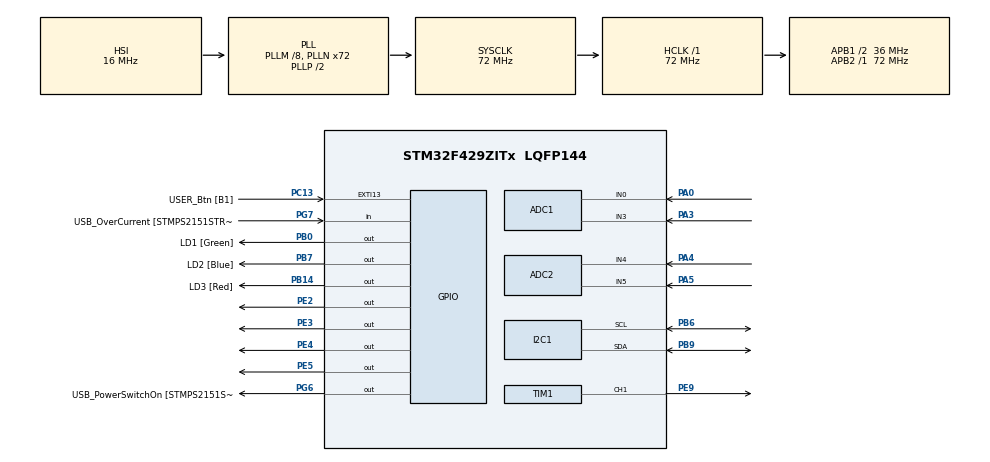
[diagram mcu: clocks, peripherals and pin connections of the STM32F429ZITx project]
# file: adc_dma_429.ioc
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ADC1.Channel-3\#ChannelRegularConversion=ADC_CHANNEL_0
ADC1.Channel-4\#ChannelRegularConversion=ADC_CHANNEL_3
ADC1.ClockPrescaler=ADC_CLOCK_SYNC_PCLK_DIV8
ADC1.ContinuousConvMode=ENABLE
ADC1.DMAContinuousRequests=ENABLE
ADC1.NbrOfConversion=2
ADC1.NbrOfConversionFlag=1
ADC1.Rank-3\#ChannelRegularConversion=1
ADC1.Rank-4\#ChannelRegularConversion=2
ADC1.SamplingTime-3\#ChannelRegularConversion=ADC_SAMPLETIME_480CYCLES
ADC1.SamplingTime-4\#ChannelRegularConversion=ADC_SAMPLETIME_480CYCLES
ADC1.ScanConvMode=ENABLE
ADC1.master=1
ADC2.Channel-2\#ChannelRegularConversion=ADC_CHANNEL_4
ADC2.Channel-3\#ChannelRegularConversion=ADC_CHANNEL_5
ADC2.ClockPrescaler=ADC_CLOCK_SYNC_PCLK_DIV8
ADC2.ContinuousConvMode=ENABLE
ADC2.DMAContinuousRequests=ENABLE
ADC2.NbrOfConversion=2
ADC2.NbrOfConversionFlag=1
ADC2.Rank-2\#ChannelRegularConversion=1
ADC2.Rank-3\#ChannelRegularConversion=2
ADC2.SamplingTime-2\#ChannelRegularConversion=ADC_SAMPLETIME_144CYCLES
ADC2.SamplingTime-3\#ChannelRegularConversion=ADC_SAMPLETIME_144CYCLES
ADC2.ScanConvMode=ENABLE
Dma.ADC1.0.Direction=DMA_PERIPH_TO_MEMORY
Dma.ADC1.0.FIFOMode=DMA_FIFOMODE_DISABLE
Dma.ADC1.0.Instance=DMA2_Stream0
Dma.ADC1.0.MemDataAlignment=DMA_MDATAALIGN_HALFWORD
Dma.ADC1.0.MemInc=DMA_MINC_ENABLE
Dma.ADC1.0.Mode=DMA_CIRCULAR
Dma.ADC1.0.PeriphDataAlignment=DMA_PDATAALIGN_HALFWORD
Dma.ADC1.0.PeriphInc=DMA_PINC_DISABLE
Dma.ADC1.0.Priority=DMA_PRIORITY_LOW
Dma.ADC2.1.Direction=DMA_PERIPH_TO_MEMORY
Dma.ADC2.1.FIFOMode=DMA_FIFOMODE_DISABLE
Dma.ADC2.1.Instance=DMA2_Stream2
Dma.ADC2.1.MemDataAlignment=DMA_MDATAALIGN_HALFWORD
Dma.ADC2.1.MemInc=DMA_MINC_ENABLE
Dma.ADC2.1.Mode=DMA_CIRCULAR
Dma.ADC2.1.PeriphDataAlignment=DMA_PDATAALIGN_HALFWORD
Dma.ADC2.1.PeriphInc=DMA_PINC_DISABLE
Dma.ADC2.1.Priority=DMA_PRIORITY_LOW
Dma.Request0=ADC1
Dma.Request1=ADC2
Mcu.Family=STM32F4
Mcu.Name=STM32F429ZITx
Mcu.Package=LQFP144
NVIC.DMA2_Stream0_IRQn=true\:0\:0\:false\:false\:true\:false\:true\:true
NVIC.DMA2_Stream2_IRQn=true\:0\:0\:false\:false\:true\:false\:true\:true
NVIC.PriorityGroup=NVIC_PRIORITYGROUP_4
PA0/WKUP.Signal=ADCx_IN0
PA1.GPIO_Label=RMII_REF_CLK [LAN8742A-CZ-TR_REFCLK0]
PA1.Signal=ETH_REF_CLK
PA10.GPIO_Label=USB_ID
PA10.Signal=USB_OTG_FS_ID
PA11.GPIO_Label=USB_DM
PA11.Signal=USB_OTG_FS_DM
PA12.GPIO_Label=USB_DP
PA12.Signal=USB_OTG_FS_DP
PA13.GPIO_Label=TMS
PA13.Signal=SYS_JTMS-SWDIO
PA14.GPIO_Label=TCK
PA14.Signal=SYS_JTCK-SWCLK
PA2.GPIO_Label=RMII_MDIO [LAN8742A-CZ-TR_MDIO]
PA2.Signal=ETH_MDIO
PA3.Signal=ADCx_IN3
PA4.Signal=ADCx_IN4
PA5.Signal=ADCx_IN5
PA7.GPIO_Label=RMII_CRS_DV [LAN8742A-CZ-TR_CRS_DV]
PA7.Signal=ETH_CRS_DV
PA8.GPIO_Label=USB_SOF [TP1]
PA8.Signal=USB_OTG_FS_SOF
PA9.GPIO_Label=USB_VBUS
PA9.Signal=USB_OTG_FS_VBUS
PB0.GPIO_Label=LD1 [Green]
PB0.Signal=GPIO_Output
PB13.GPIO_Label=RMII_TXD1 [LAN8742A-CZ-TR_TXD1]
PB13.Signal=ETH_TXD1
PB14.GPIO_Label=LD3 [Red]
PB14.Signal=GPIO_Output
PB6.Mode=I2C
PB6.Signal=I2C1_SCL
PB7.GPIO_Label=LD2 [Blue]
PB7.Signal=GPIO_Output
PB9.Mode=I2C
PB9.Signal=I2C1_SDA
PC1.GPIO_Label=RMII_MDC [LAN8742A-CZ-TR_MDC]
PC1.Signal=ETH_MDC
PC13.GPIO_Label=USER_Btn [B1]
PC13.Signal=GPXTI13
PC14/OSC32_IN.Signal=RCC_OSC32_IN
PC15/OSC32_OUT.Signal=RCC_OSC32_OUT
PC4.GPIO_Label=RMII_RXD0 [LAN8742A-CZ-TR_RXD0]
PC4.Signal=ETH_RXD0
PC5.GPIO_Label=RMII_RXD1 [LAN8742A-CZ-TR_RXD1]
PC5.Signal=ETH_RXD1
PD8.GPIO_Label=STLK_RX [STM32F103CBT6_PA3]
PD8.Signal=USART3_TX
PD9.GPIO_Label=STLK_TX [STM32F103CBT6_PA2]
PD9.Signal=USART3_RX
PE2.Signal=GPIO_Output
PE3.Signal=GPIO_Output
PE4.Signal=GPIO_Output
PE5.Signal=GPIO_Output
PE9.Signal=S_TIM1_CH1
PG11.GPIO_Label=RMII_TX_EN [LAN8742A-CZ-TR_TXEN]
PG11.Signal=ETH_TX_EN
PG13.GPIO_Label=RMII_TXD0 [LAN8742A-CZ-TR_TXD0]
PG13.Signal=ETH_TXD0
PG6.GPIO_Label=USB_PowerSwitchOn [STMPS2151STR_EN]
PG6.Signal=GPIO_Output
PG7.GPIO_Label=USB_OverCurrent [STMPS2151STR_FAULT]
PG7.Signal=GPIO_Input
PH0/OSC_IN.GPIO_Label=MCO [STM32F103CBT6_PA8]
PH0/OSC_IN.Mode=HSE-External-Oscillator
PH0/OSC_IN.Signal=RCC_OSC_IN
PH1/OSC_OUT.Mode=HSE-External-Oscillator
PH1/OSC_OUT.Signal=RCC_OSC_OUT
ProjectManager.HeapSize=0x200
ProjectManager.StackSize=0x400
ProjectManager.TargetToolchain=STM32CubeIDE
RCC.48MHZClocksFreq_Value=36000000
RCC.AHBFreq_Value=72000000
RCC.APB1CLKDivider=RCC_HCLK_DIV2
RCC.APB1Freq_Value=36000000
RCC.APB1TimFreq_Value=72000000
RCC.APB2Freq_Value=72000000
RCC.APB2TimFreq_Value=72000000
RCC.CortexFreq_Value=72000000
RCC.HCLKFreq_Value=72000000
RCC.HSE_VALUE=8000000
RCC.HSI_VALUE=16000000
RCC.LSE_VALUE=32768
RCC.PLLM=8
RCC.PLLMUL=RCC_PLL_MUL9
RCC.PLLN=72
RCC.PRESCALERUSB=RCC_USBCLKSOURCE_PLL_DIV1_5
RCC.SYSCLKFreq_VALUE=72000000
RCC.SYSCLKSource=RCC_SYSCLKSOURCE_PLLCLK
RCC.SYSCLKSourceVirtual=RCC_SYSCLKSOURCE_PLLCLK
RCC.USBFreq_Value=48000000
RCC.VCOOutputFreq_Value=144000000
SH.ADCx_IN0.0=ADC1_IN0,IN0
SH.ADCx_IN3.0=ADC1_IN3,IN3
SH.ADCx_IN4.0=ADC2_IN4,IN4
SH.ADCx_IN5.0=ADC2_IN5,IN5
SH.S_TIM1_CH1.0=TIM1_CH1,PWM Generation1 CH1
TIM1.Channel-PWM\ Generation1\ CH1=TIM_CHANNEL_1
TIM1.Period=20000
TIM1.Prescaler=72-1
TIM1.Pulse-PWM\ Generation1\ CH1=1000
TIM2.Period=4294967295
TIM2.Prescaler=71
VP_TIM1_VS_ClockSourceINT.Mode=Internal
VP_TIM2_VS_ClockSourceINT.Mode=Internal
board=NUCLEO-F429ZI

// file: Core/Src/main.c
/* USER CODE BEGIN Header */
/**
  ******************************************************************************
  * @file           : main.c
  * @brief          : Main program body
  ******************************************************************************
  * @attention
  *
  * Copyright (c) 2022 STMicroelectronics.
  * All rights reserved.
  *
  * This software is licensed under terms that can be found in the LICENSE file
  * in the root directory of this software component.
  * If no LICENSE file comes with this software, it is provided AS-IS.
  *
  ******************************************************************************
  */
/* USER CODE END Header */
#include "main.h"

ADC_HandleTypeDef hadc1;
ADC_HandleTypeDef hadc2;
DMA_HandleTypeDef hdma_adc1;
DMA_HandleTypeDef hdma_adc2;

I2C_HandleTypeDef hi2c1;

TIM_HandleTypeDef htim1;
TIM_HandleTypeDef htim2;

/* USER CODE BEGIN PV */
uint16_t adc_data_left[2];
uint16_t adc_data_right[2];
/* USER CODE END PV */

void SystemClock_Config(void);
static void MX_GPIO_Init(void);
static void MX_DMA_Init(void);
static void MX_ADC1_Init(void);
static void MX_TIM1_Init(void);
static void MX_TIM2_Init(void);
static void MX_I2C1_Init(void);
static void MX_ADC2_Init(void);

/* USER CODE BEGIN 0 */
void microDelay (uint16_t delay)
{
  __HAL_TIM_SET_COUNTER(&htim2, 0);
  while (__HAL_TIM_GET_COUNTER(&htim2) < delay);
}

void stepCCV (int steps, uint16_t delay) // CCV - Counter Clockwise
{
  for(int x=0; x<steps; x=x+1)
  {
    HAL_GPIO_WritePin(GPIOE, GPIO_PIN_5, GPIO_PIN_SET);   // IN1
    HAL_GPIO_WritePin(GPIOE, GPIO_PIN_4, GPIO_PIN_RESET); // IN2
    HAL_GPIO_WritePin(GPIOE, GPIO_PIN_3, GPIO_PIN_RESET); // IN3
    HAL_GPIO_WritePin(GPIOE, GPIO_PIN_2, GPIO_PIN_RESET); // IN4
    microDelay(delay);
    HAL_GPIO_WritePin(GPIOE, GPIO_PIN_5, GPIO_PIN_SET);   // IN1
    HAL_GPIO_WritePin(GPIOE, GPIO_PIN_4, GPIO_PIN_SET);   // IN2
    HAL_GPIO_WritePin(GPIOE, GPIO_PIN_3, GPIO_PIN_RESET); // IN3
    HAL_GPIO_WritePin(GPIOE, GPIO_PIN_2, GPIO_PIN_RESET); // IN4
    microDelay(delay);
    HAL_GPIO_WritePin(GPIOE, GPIO_PIN_5, GPIO_PIN_RESET); // IN1
    HAL_GPIO_WritePin(GPIOE, GPIO_PIN_4, GPIO_PIN_SET);   // IN2
    HAL_GPIO_WritePin(GPIOE, GPIO_PIN_3, GPIO_PIN_RESET); // IN3
    HAL_GPIO_WritePin(GPIOE, GPIO_PIN_2, GPIO_PIN_RESET); // IN4
    microDelay(delay);
    HAL_GPIO_WritePin(GPIOE, GPIO_PIN_5, GPIO_PIN_RESET); // IN1
    HAL_GPIO_WritePin(GPIOE, GPIO_PIN_4, GPIO_PIN_SET);   // IN2
    HAL_GPIO_WritePin(GPIOE, GPIO_PIN_3, GPIO_PIN_SET);   // IN3
    HAL_GPIO_WritePin(GPIOE, GPIO_PIN_2, GPIO_PIN_RESET); // IN4
    microDelay(delay);
    HAL_GPIO_WritePin(GPIOE, GPIO_PIN_5, GPIO_PIN_RESET); // IN1
    HAL_GPIO_WritePin(GPIOE, GPIO_PIN_4, GPIO_PIN_RESET); // IN2
    HAL_GPIO_WritePin(GPIOE, GPIO_PIN_3, GPIO_PIN_SET);   // IN3
    HAL_GPIO_WritePin(GPIOE, GPIO_PIN_2, GPIO_PIN_RESET); // IN4
    microDelay(delay);
    HAL_GPIO_WritePin(GPIOE, GPIO_PIN_5, GPIO_PIN_RESET); // IN1
    HAL_GPIO_WritePin(GPIOE, GPIO_PIN_4, GPIO_PIN_RESET); // IN2
    HAL_GPIO_WritePin(GPIOE, GPIO_PIN_3, GPIO_PIN_SET);   // IN3
    HAL_GPIO_WritePin(GPIOE, GPIO_PIN_2, GPIO_PIN_SET);   // IN4
    microDelay(delay);
    HAL_GPIO_WritePin(GPIOE, GPIO_PIN_5, GPIO_PIN_RESET); // IN1
    HAL_GPIO_WritePin(GPIOE, GPIO_PIN_4, GPIO_PIN_RESET); // IN2
    HAL_GPIO_WritePin(GPIOE, GPIO_PIN_3, GPIO_PIN_RESET); // IN3
    HAL_GPIO_WritePin(GPIOE, GPIO_PIN_2, GPIO_PIN_SET);   // IN4
    microDelay(delay);
    HAL_GPIO_WritePin(GPIOE, GPIO_PIN_5, GPIO_PIN_SET);   // IN1
    HAL_GPIO_WritePin(GPIOE, GPIO_PIN_4, GPIO_PIN_RESET); // IN2
    HAL_GPIO_WritePin(GPIOE, GPIO_PIN_3, GPIO_PIN_RESET); // IN3
    HAL_GPIO_WritePin(GPIOE, GPIO_PIN_2, GPIO_PIN_SET);   // IN4
    microDelay(delay);
  }
}

void stepCV (int steps, uint16_t delay) // CV - Clockwise
{
  for(int x=0; x<steps; x=x+1)
  {
    HAL_GPIO_WritePin(GPIOE, GPIO_PIN_5, GPIO_PIN_SET);   // IN1
    HAL_GPIO_WritePin(GPIOE, GPIO_PIN_4, GPIO_PIN_RESET); // IN2
    HAL_GPIO_WritePin(GPIOE, GPIO_PIN_3, GPIO_PIN_RESET); // IN3
    HAL_GPIO_WritePin(GPIOE, GPIO_PIN_2, GPIO_PIN_SET);   // IN4
    microDelay(delay);
    HAL_GPIO_WritePin(GPIOE, GPIO_PIN_5, GPIO_PIN_RESET); // IN1
    HAL_GPIO_WritePin(GPIOE, GPIO_PIN_4, GPIO_PIN_RESET); // IN2
    HAL_GPIO_WritePin(GPIOE, GPIO_PIN_3, GPIO_PIN_RESET); // IN3
    HAL_GPIO_WritePin(GPIOE, GPIO_PIN_2, GPIO_PIN_SET);   // IN4
    microDelay(delay);
    HAL_GPIO_WritePin(GPIOE, GPIO_PIN_5, GPIO_PIN_RESET); // IN1
    HAL_GPIO_WritePin(GPIOE, GPIO_PIN_4, GPIO_PIN_RESET); // IN2
    HAL_GPIO_WritePin(GPIOE, GPIO_PIN_3, GPIO_PIN_SET);   // IN3
    HAL_GPIO_WritePin(GPIOE, GPIO_PIN_2, GPIO_PIN_SET);   // IN4
    microDelay(delay);
    HAL_GPIO_WritePin(GPIOE, GPIO_PIN_5, GPIO_PIN_RESET); // IN1
    HAL_GPIO_WritePin(GPIOE, GPIO_PIN_4, GPIO_PIN_RESET); // IN2
    HAL_GPIO_WritePin(GPIOE, GPIO_PIN_3, GPIO_PIN_SET);   // IN3
    HAL_GPIO_WritePin(GPIOE, GPIO_PIN_2, GPIO_PIN_RESET); // IN4
    microDelay(delay);
    HAL_GPIO_WritePin(GPIOE, GPIO_PIN_5, GPIO_PIN_RESET); // IN1
    HAL_GPIO_WritePin(GPIOE, GPIO_PIN_4, GPIO_PIN_SET);   // IN2
    HAL_GPIO_WritePin(GPIOE, GPIO_PIN_3, GPIO_PIN_SET);   // IN3
    HAL_GPIO_WritePin(GPIOE, GPIO_PIN_2, GPIO_PIN_RESET); // IN4
    microDelay(delay);
    HAL_GPIO_WritePin(GPIOE, GPIO_PIN_5, GPIO_PIN_RESET); // IN1
    HAL_GPIO_WritePin(GPIOE, GPIO_PIN_4, GPIO_PIN_SET);   // IN2
    HAL_GPIO_WritePin(GPIOE, GPIO_PIN_3, GPIO_PIN_RESET); // IN3
    HAL_GPIO_WritePin(GPIOE, GPIO_PIN_2, GPIO_PIN_RESET); // IN4
    microDelay(delay);
    HAL_GPIO_WritePin(GPIOE, GPIO_PIN_5, GPIO_PIN_SET);   // IN1
    HAL_GPIO_WritePin(GPIOE, GPIO_PIN_4, GPIO_PIN_SET);   // IN2
    HAL_GPIO_WritePin(GPIOE, GPIO_PIN_3, GPIO_PIN_RESET); // IN3
    HAL_GPIO_WritePin(GPIOE, GPIO_PIN_2, GPIO_PIN_RESET); // IN4
    microDelay(delay);
    HAL_GPIO_WritePin(GPIOE, GPIO_PIN_5, GPIO_PIN_SET);   // IN1
    HAL_GPIO_WritePin(GPIOE, GPIO_PIN_4, GPIO_PIN_RESET); // IN2
    HAL_GPIO_WritePin(GPIOE, GPIO_PIN_3, GPIO_PIN_RESET); // IN3
    HAL_GPIO_WritePin(GPIOE, GPIO_PIN_2, GPIO_PIN_RESET); // IN4
    microDelay(delay);
  }
}
/* USER CODE END 0 */

int main(void)
{

  /* MCU Configuration--------------------------------------------------------*/

  /* Reset of all peripherals, Initializes the Flash interface and the Systick. */
  HAL_Init();

  /* Configure the system clock */
  SystemClock_Config();

  /* Initialize all configured peripherals */
  MX_GPIO_Init();
  MX_DMA_Init();
  MX_ADC1_Init();
  MX_TIM1_Init();
  MX_TIM2_Init();
  MX_I2C1_Init();
  MX_ADC2_Init();
  /* USER CODE BEGIN 2 */
  HAL_TIM_Base_Start(&htim2);
  HAL_ADC_Start_DMA(&hadc1, (uint32_t*)adc_data_left, 2);
  HAL_ADC_Start_DMA(&hadc2, (uint32_t*)adc_data_right, 2);
  HAL_TIM_PWM_Start(&htim1, TIM_CHANNEL_1);
  /* USER CODE END 2 */

  /* Infinite loop */
  /* USER CODE BEGIN WHILE */
  while (1)
  {
	  if(adc_data_left[0]<= 1800)
	  {
		  stepCCV(3, adc_data_left[0]*0.8 + 1000);
	  }
	  else
	  {
		  if(adc_data_left[0]>= 2500)
		  {
			  stepCV(3, 4096 - adc_data_left[0]*0.8 + 1000);
		  }
		  else
		  {
			  HAL_GPIO_WritePin(GPIOE, GPIO_PIN_5, GPIO_PIN_RESET); // IN1
			      HAL_GPIO_WritePin(GPIOE, GPIO_PIN_4, GPIO_PIN_RESET); // IN2
			      HAL_GPIO_WritePin(GPIOE, GPIO_PIN_3, GPIO_PIN_RESET); // IN3
			      HAL_GPIO_WritePin(GPIOE, GPIO_PIN_2, GPIO_PIN_RESET);   // IN4
		  }
	  }

	  __HAL_TIM_SET_COMPARE(&htim1, TIM_CHANNEL_1, 1000 + adc_data_right[0]/6);

    /* USER CODE END WHILE */

  }
}

void SystemClock_Config(void)
{
  RCC_OscInitTypeDef RCC_OscInitStruct = {0};
  RCC_ClkInitTypeDef RCC_ClkInitStruct = {0};

  /** Configure the main internal regulator output voltage
  */
  __HAL_RCC_PWR_CLK_ENABLE();
  __HAL_PWR_VOLTAGESCALING_CONFIG(PWR_REGULATOR_VOLTAGE_SCALE3);

  /** Initializes the RCC Oscillators according to the specified parameters
  * in the RCC_OscInitTypeDef structure.
  */
  RCC_OscInitStruct.OscillatorType = RCC_OSCILLATORTYPE_HSI;
  RCC_OscInitStruct.HSIState = RCC_HSI_ON;
  RCC_OscInitStruct.HSICalibrationValue = RCC_HSICALIBRATION_DEFAULT;
  RCC_OscInitStruct.PLL.PLLState = RCC_PLL_ON;
  RCC_OscInitStruct.PLL.PLLSource = RCC_PLLSOURCE_HSI;
  RCC_OscInitStruct.PLL.PLLM = 8;
  RCC_OscInitStruct.PLL.PLLN = 72;
  RCC_OscInitStruct.PLL.PLLP = RCC_PLLP_DIV2;
  RCC_OscInitStruct.PLL.PLLQ = 4;
  if (HAL_RCC_OscConfig(&RCC_OscInitStruct) != HAL_OK)
  {
    Error_Handler();
  }

  /** Initializes the CPU, AHB and APB buses clocks
  */
  RCC_ClkInitStruct.ClockType = RCC_CLOCKTYPE_HCLK|RCC_CLOCKTYPE_SYSCLK
                              |RCC_CLOCKTYPE_PCLK1|RCC_CLOCKTYPE_PCLK2;
  RCC_ClkInitStruct.SYSCLKSource = RCC_SYSCLKSOURCE_PLLCLK;
  RCC_ClkInitStruct.AHBCLKDivider = RCC_SYSCLK_DIV1;
  RCC_ClkInitStruct.APB1CLKDivider = RCC_HCLK_DIV2;
  RCC_ClkInitStruct.APB2CLKDivider = RCC_HCLK_DIV1;

  if (HAL_RCC_ClockConfig(&RCC_ClkInitStruct, FLASH_LATENCY_2) != HAL_OK)
  {
    Error_Handler();
  }
}

static void MX_ADC1_Init(void)
{

  ADC_ChannelConfTypeDef sConfig = {0};

  /** Configure the global features of the ADC (Clock, Resolution, Data Alignment and number of conversion)
  */
  hadc1.Instance = ADC1;
  hadc1.Init.ClockPrescaler = ADC_CLOCK_SYNC_PCLK_DIV8;
  hadc1.Init.Resolution = ADC_RESOLUTION_12B;
  hadc1.Init.ScanConvMode = ENABLE;
  hadc1.Init.ContinuousConvMode = ENABLE;
  hadc1.Init.DiscontinuousConvMode = DISABLE;
  hadc1.Init.ExternalTrigConvEdge = ADC_EXTERNALTRIGCONVEDGE_NONE;
  hadc1.Init.ExternalTrigConv = ADC_SOFTWARE_START;
  hadc1.Init.DataAlign = ADC_DATAALIGN_RIGHT;
  hadc1.Init.NbrOfConversion = 2;
  hadc1.Init.DMAContinuousRequests = ENABLE;
  hadc1.Init.EOCSelection = ADC_EOC_SINGLE_CONV;
  if (HAL_ADC_Init(&hadc1) != HAL_OK)
  {
    Error_Handler();
  }

  /** Configure for the selected ADC regular channel its corresponding rank in the sequencer and its sample time.
  */
  sConfig.Channel = ADC_CHANNEL_0;
  sConfig.Rank = 1;
  sConfig.SamplingTime = ADC_SAMPLETIME_480CYCLES;
  if (HAL_ADC_ConfigChannel(&hadc1, &sConfig) != HAL_OK)
  {
    Error_Handler();
  }

  /** Configure for the selected ADC regular channel its corresponding rank in the sequencer and its sample time.
  */
  sConfig.Channel = ADC_CHANNEL_3;
  sConfig.Rank = 2;
  if (HAL_ADC_ConfigChannel(&hadc1, &sConfig) != HAL_OK)
  {
    Error_Handler();
  }

}

static void MX_ADC2_Init(void)
{

  ADC_ChannelConfTypeDef sConfig = {0};

  /** Configure the global features of the ADC (Clock, Resolution, Data Alignment and number of conversion)
  */
  hadc2.Instance = ADC2;
  hadc2.Init.ClockPrescaler = ADC_CLOCK_SYNC_PCLK_DIV8;
  hadc2.Init.Resolution = ADC_RESOLUTION_12B;
  hadc2.Init.ScanConvMode = ENABLE;
  hadc2.Init.ContinuousConvMode = ENABLE;
  hadc2.Init.DiscontinuousConvMode = DISABLE;
  hadc2.Init.ExternalTrigConvEdge = ADC_EXTERNALTRIGCONVEDGE_NONE;
  hadc2.Init.ExternalTrigConv = ADC_SOFTWARE_START;
  hadc2.Init.DataAlign = ADC_DATAALIGN_RIGHT;
  hadc2.Init.NbrOfConversion = 2;
  hadc2.Init.DMAContinuousRequests = ENABLE;
  hadc2.Init.EOCSelection = ADC_EOC_SINGLE_CONV;
  if (HAL_ADC_Init(&hadc2) != HAL_OK)
  {
    Error_Handler();
  }

  /** Configure for the selected ADC regular channel its corresponding rank in the sequencer and its sample time.
  */
  sConfig.Channel = ADC_CHANNEL_4;
  sConfig.Rank = 1;
  sConfig.SamplingTime = ADC_SAMPLETIME_144CYCLES;
  if (HAL_ADC_ConfigChannel(&hadc2, &sConfig) != HAL_OK)
  {
    Error_Handler();
  }

  /** Configure for the selected ADC regular channel its corresponding rank in the sequencer and its sample time.
  */
  sConfig.Channel = ADC_CHANNEL_5;
  sConfig.Rank = 2;
  if (HAL_ADC_ConfigChannel(&hadc2, &sConfig) != HAL_OK)
  {
    Error_Handler();
  }

}

static void MX_I2C1_Init(void)
{

  hi2c1.Instance = I2C1;
  hi2c1.Init.ClockSpeed = 100000;
  hi2c1.Init.DutyCycle = I2C_DUTYCYCLE_2;
  hi2c1.Init.OwnAddress1 = 0;
  hi2c1.Init.AddressingMode = I2C_ADDRESSINGMODE_7BIT;
  hi2c1.Init.DualAddressMode = I2C_DUALADDRESS_DISABLE;
  hi2c1.Init.OwnAddress2 = 0;
  hi2c1.Init.GeneralCallMode = I2C_GENERALCALL_DISABLE;
  hi2c1.Init.NoStretchMode = I2C_NOSTRETCH_DISABLE;
  if (HAL_I2C_Init(&hi2c1) != HAL_OK)
  {
    Error_Handler();
  }

  /** Configure Analogue filter
  */
  if (HAL_I2CEx_ConfigAnalogFilter(&hi2c1, I2C_ANALOGFILTER_ENABLE) != HAL_OK)
  {
    Error_Handler();
  }

  /** Configure Digital filter
  */
  if (HAL_I2CEx_ConfigDigitalFilter(&hi2c1, 0) != HAL_OK)
  {
    Error_Handler();
  }

}

static void MX_TIM1_Init(void)
{

  TIM_ClockConfigTypeDef sClockSourceConfig = {0};
  TIM_MasterConfigTypeDef sMasterConfig = {0};
  TIM_OC_InitTypeDef sConfigOC = {0};
  TIM_BreakDeadTimeConfigTypeDef sBreakDeadTimeConfig = {0};

  htim1.Instance = TIM1;
  htim1.Init.Prescaler = 72-1;
  htim1.Init.CounterMode = TIM_COUNTERMODE_UP;
  htim1.Init.Period = 20000;
  htim1.Init.ClockDivision = TIM_CLOCKDIVISION_DIV1;
  htim1.Init.RepetitionCounter = 0;
  htim1.Init.AutoReloadPreload = TIM_AUTORELOAD_PRELOAD_DISABLE;
  if (HAL_TIM_Base_Init(&htim1) != HAL_OK)
  {
    Error_Handler();
  }
  sClockSourceConfig.ClockSource = TIM_CLOCKSOURCE_INTERNAL;
  if (HAL_TIM_ConfigClockSource(&htim1, &sClockSourceConfig) != HAL_OK)
  {
    Error_Handler();
  }
  if (HAL_TIM_PWM_Init(&htim1) != HAL_OK)
  {
    Error_Handler();
  }
  sMasterConfig.MasterOutputTrigger = TIM_TRGO_RESET;
  sMasterConfig.MasterSlaveMode = TIM_MASTERSLAVEMODE_DISABLE;
  if (HAL_TIMEx_MasterConfigSynchronization(&htim1, &sMasterConfig) != HAL_OK)
  {
    Error_Handler();
  }
  sConfigOC.OCMode = TIM_OCMODE_PWM1;
  sConfigOC.Pulse = 1000;
  sConfigOC.OCPolarity = TIM_OCPOLARITY_HIGH;
  sConfigOC.OCNPolarity = TIM_OCNPOLARITY_HIGH;
  sConfigOC.OCFastMode = TIM_OCFAST_DISABLE;
  sConfigOC.OCIdleState = TIM_OCIDLESTATE_RESET;
  sConfigOC.OCNIdleState = TIM_OCNIDLESTATE_RESET;
  if (HAL_TIM_PWM_ConfigChannel(&htim1, &sConfigOC, TIM_CHANNEL_1) != HAL_OK)
  {
    Error_Handler();
  }
  sBreakDeadTimeConfig.OffStateRunMode = TIM_OSSR_DISABLE;
  sBreakDeadTimeConfig.OffStateIDLEMode = TIM_OSSI_DISABLE;
  sBreakDeadTimeConfig.LockLevel = TIM_LOCKLEVEL_OFF;
  sBreakDeadTimeConfig.DeadTime = 0;
  sBreakDeadTimeConfig.BreakState = TIM_BREAK_DISABLE;
  sBreakDeadTimeConfig.BreakPolarity = TIM_BREAKPOLARITY_HIGH;
  sBreakDeadTimeConfig.AutomaticOutput = TIM_AUTOMATICOUTPUT_DISABLE;
  if (HAL_TIMEx_ConfigBreakDeadTime(&htim1, &sBreakDeadTimeConfig) != HAL_OK)
  {
    Error_Handler();
  }
  HAL_TIM_MspPostInit(&htim1);

}

static void MX_TIM2_Init(void)
{

  TIM_ClockConfigTypeDef sClockSourceConfig = {0};
  TIM_MasterConfigTypeDef sMasterConfig = {0};

  htim2.Instance = TIM2;
  htim2.Init.Prescaler = 71;
  htim2.Init.CounterMode = TIM_COUNTERMODE_UP;
  htim2.Init.Period = 4294967295;
  htim2.Init.ClockDivision = TIM_CLOCKDIVISION_DIV1;
  htim2.Init.AutoReloadPreload = TIM_AUTORELOAD_PRELOAD_DISABLE;
  if (HAL_TIM_Base_Init(&htim2) != HAL_OK)
  {
    Error_Handler();
  }
  sClockSourceConfig.ClockSource = TIM_CLOCKSOURCE_INTERNAL;
  if (HAL_TIM_ConfigClockSource(&htim2, &sClockSourceConfig) != HAL_OK)
  {
    Error_Handler();
  }
  sMasterConfig.MasterOutputTrigger = TIM_TRGO_RESET;
  sMasterConfig.MasterSlaveMode = TIM_MASTERSLAVEMODE_DISABLE;
  if (HAL_TIMEx_MasterConfigSynchronization(&htim2, &sMasterConfig) != HAL_OK)
  {
    Error_Handler();
  }

}

static void MX_DMA_Init(void)
{

  /* DMA controller clock enable */
  __HAL_RCC_DMA2_CLK_ENABLE();

  /* DMA interrupt init */
  /* DMA2_Stream0_IRQn interrupt configuration */
  HAL_NVIC_SetPriority(DMA2_Stream0_IRQn, 0, 0);
  HAL_NVIC_EnableIRQ(DMA2_Stream0_IRQn);
  /* DMA2_Stream2_IRQn interrupt configuration */
  HAL_NVIC_SetPriority(DMA2_Stream2_IRQn, 0, 0);
  HAL_NVIC_EnableIRQ(DMA2_Stream2_IRQn);

}

static void MX_GPIO_Init(void)
{
  GPIO_InitTypeDef GPIO_InitStruct = {0};

  /* GPIO Ports Clock Enable */
  __HAL_RCC_GPIOE_CLK_ENABLE();
  __HAL_RCC_GPIOC_CLK_ENABLE();
  __HAL_RCC_GPIOH_CLK_ENABLE();
  __HAL_RCC_GPIOA_CLK_ENABLE();
  __HAL_RCC_GPIOB_CLK_ENABLE();
  __HAL_RCC_GPIOD_CLK_ENABLE();
  __HAL_RCC_GPIOG_CLK_ENABLE();

  /*Configure GPIO pin Output Level */
  HAL_GPIO_WritePin(GPIOE, GPIO_PIN_2|GPIO_PIN_3|GPIO_PIN_4|GPIO_PIN_5, GPIO_PIN_RESET);

  /*Configure GPIO pin Output Level */
  HAL_GPIO_WritePin(GPIOB, LD1_Pin|LD3_Pin|LD2_Pin, GPIO_PIN_RESET);

  /*Configure GPIO pin Output Level */
  HAL_GPIO_WritePin(USB_PowerSwitchOn_GPIO_Port, USB_PowerSwitchOn_Pin, GPIO_PIN_RESET);

  /*Configure GPIO pins : PE2 PE3 PE4 PE5 */
  GPIO_InitStruct.Pin = GPIO_PIN_2|GPIO_PIN_3|GPIO_PIN_4|GPIO_PIN_5;
  GPIO_InitStruct.Mode = GPIO_MODE_OUTPUT_PP;
  GPIO_InitStruct.Pull = GPIO_NOPULL;
  GPIO_InitStruct.Speed = GPIO_SPEED_FREQ_LOW;
  HAL_GPIO_Init(GPIOE, &GPIO_InitStruct);

  /*Configure GPIO pin : USER_Btn_Pin */
  GPIO_InitStruct.Pin = USER_Btn_Pin;
  GPIO_InitStruct.Mode = GPIO_MODE_IT_RISING;
  GPIO_InitStruct.Pull = GPIO_NOPULL;
  HAL_GPIO_Init(USER_Btn_GPIO_Port, &GPIO_InitStruct);

  /*Configure GPIO pins : RMII_MDC_Pin RMII_RXD0_Pin RMII_RXD1_Pin */
  GPIO_InitStruct.Pin = RMII_MDC_Pin|RMII_RXD0_Pin|RMII_RXD1_Pin;
  GPIO_InitStruct.Mode = GPIO_MODE_AF_PP;
  GPIO_InitStruct.Pull = GPIO_NOPULL;
  GPIO_InitStruct.Speed = GPIO_SPEED_FREQ_VERY_HIGH;
  GPIO_InitStruct.Alternate = GPIO_AF11_ETH;
  HAL_GPIO_Init(GPIOC, &GPIO_InitStruct);

  /*Configure GPIO pins : RMII_REF_CLK_Pin RMII_MDIO_Pin RMII_CRS_DV_Pin */
  GPIO_InitStruct.Pin = RMII_REF_CLK_Pin|RMII_MDIO_Pin|RMII_CRS_DV_Pin;
  GPIO_InitStruct.Mode = GPIO_MODE_AF_PP;
  GPIO_InitStruct.Pull = GPIO_NOPULL;
  GPIO_InitStruct.Speed = GPIO_SPEED_FREQ_VERY_HIGH;
  GPIO_InitStruct.Alternate = GPIO_AF11_ETH;
  HAL_GPIO_Init(GPIOA, &GPIO_InitStruct);

  /*Configure GPIO pins : LD1_Pin LD3_Pin LD2_Pin */
  GPIO_InitStruct.Pin = LD1_Pin|LD3_Pin|LD2_Pin;
  GPIO_InitStruct.Mode = GPIO_MODE_OUTPUT_PP;
  GPIO_InitStruct.Pull = GPIO_NOPULL;
  GPIO_InitStruct.Speed = GPIO_SPEED_FREQ_LOW;
  HAL_GPIO_Init(GPIOB, &GPIO_InitStruct);

  /*Configure GPIO pin : RMII_TXD1_Pin */
  GPIO_InitStruct.Pin = RMII_TXD1_Pin;
  GPIO_InitStruct.Mode = GPIO_MODE_AF_PP;
  GPIO_InitStruct.Pull = GPIO_NOPULL;
  GPIO_InitStruct.Speed = GPIO_SPEED_FREQ_VERY_HIGH;
  GPIO_InitStruct.Alternate = GPIO_AF11_ETH;
  HAL_GPIO_Init(RMII_TXD1_GPIO_Port, &GPIO_InitStruct);

  /*Configure GPIO pins : STLK_RX_Pin STLK_TX_Pin */
  GPIO_InitStruct.Pin = STLK_RX_Pin|STLK_TX_Pin;
  GPIO_InitStruct.Mode = GPIO_MODE_AF_PP;
  GPIO_InitStruct.Pull = GPIO_NOPULL;
  GPIO_InitStruct.Speed = GPIO_SPEED_FREQ_VERY_HIGH;
  GPIO_InitStruct.Alternate = GPIO_AF7_USART3;
  HAL_GPIO_Init(GPIOD, &GPIO_InitStruct);

  /*Configure GPIO pin : USB_PowerSwitchOn_Pin */
  GPIO_InitStruct.Pin = USB_PowerSwitchOn_Pin;
  GPIO_InitStruct.Mode = GPIO_MODE_OUTPUT_PP;
  GPIO_InitStruct.Pull = GPIO_NOPULL;
  GPIO_InitStruct.Speed = GPIO_SPEED_FREQ_LOW;
  HAL_GPIO_Init(USB_PowerSwitchOn_GPIO_Port, &GPIO_InitStruct);

  /*Configure GPIO pin : USB_OverCurrent_Pin */
  GPIO_InitStruct.Pin = USB_OverCurrent_Pin;
  GPIO_InitStruct.Mode = GPIO_MODE_INPUT;
  GPIO_InitStruct.Pull = GPIO_NOPULL;
  HAL_GPIO_Init(USB_OverCurrent_GPIO_Port, &GPIO_InitStruct);

  /*Configure GPIO pins : USB_SOF_Pin USB_ID_Pin USB_DM_Pin USB_DP_Pin */
  GPIO_InitStruct.Pin = USB_SOF_Pin|USB_ID_Pin|USB_DM_Pin|USB_DP_Pin;
  GPIO_InitStruct.Mode = GPIO_MODE_AF_PP;
  GPIO_InitStruct.Pull = GPIO_NOPULL;
  GPIO_InitStruct.Speed = GPIO_SPEED_FREQ_VERY_HIGH;
  GPIO_InitStruct.Alternate = GPIO_AF10_OTG_FS;
  HAL_GPIO_Init(GPIOA, &GPIO_InitStruct);

  /*Configure GPIO pin : USB_VBUS_Pin */
  GPIO_InitStruct.Pin = USB_VBUS_Pin;
  GPIO_InitStruct.Mode = GPIO_MODE_INPUT;
  GPIO_InitStruct.Pull = GPIO_NOPULL;
  HAL_GPIO_Init(USB_VBUS_GPIO_Port, &GPIO_InitStruct);

  /*Configure GPIO pins : RMII_TX_EN_Pin RMII_TXD0_Pin */
  GPIO_InitStruct.Pin = RMII_TX_EN_Pin|RMII_TXD0_Pin;
  GPIO_InitStruct.Mode = GPIO_MODE_AF_PP;
  GPIO_InitStruct.Pull = GPIO_NOPULL;
  GPIO_InitStruct.Speed = GPIO_SPEED_FREQ_VERY_HIGH;
  GPIO_InitStruct.Alternate = GPIO_AF11_ETH;
  HAL_GPIO_Init(GPIOG, &GPIO_InitStruct);

}

void Error_Handler(void)
{
  __disable_irq();
  while (1)
  {
  }
}
